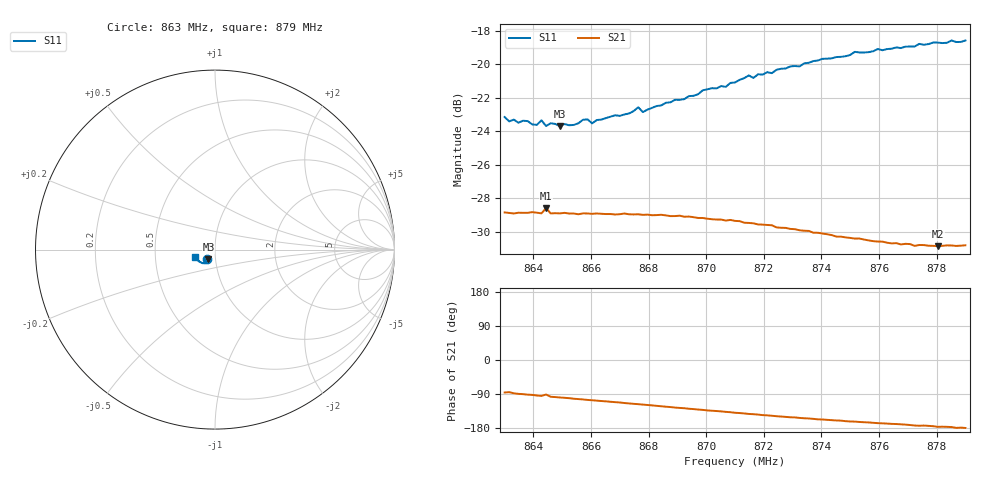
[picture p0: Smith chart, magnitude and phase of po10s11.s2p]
# HZ S RI R 50
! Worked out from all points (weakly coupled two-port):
!   101 points, 863 MHz to 879 MHz, reference 50 ohm
!   highest |S21| = -28.59 dB at 864.44 MHz (marker M1); lowest = -30.9 dB at 878.04 MHz (marker M2)
!   lowest |S11| = -23.7 dB at 864.92 MHz (marker M3), VSWR 1.14, Z = 46.2 - j5.05 ohm
!   |S11| at or under -10 dB: start of sweep to end of sweep
!   S12 and S22 are empty: the file has one direction only
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8.63e8  -0.0438 -0.0541  0.00263 -0.036  0 0  0 0
8.6316e8  -0.0413 -0.0535  0.00325 -0.0358  0 0  0 0
8.638e8  -0.0398 -0.0547  -0.000874 -0.036  0 0  0 0
8.6412e8  -0.0375 -0.0543  -0.00231 -0.036  0 0  0 0
8.6428e8  -0.0387 -0.056  -0.00302 -0.0358  0 0  0 0
8.6444e8  -0.0344 -0.0557  -0.000699 -0.0372  0 0  0 0
8.646e8  -0.0375 -0.0551  -0.00441 -0.0356  0 0  0 0
8.6492e8  -0.0362 -0.0544  -0.00556 -0.0354  0 0  0 0
8.6572e8  -0.035 -0.0587  -0.00873 -0.0348  0 0  0 0
8.6604e8  -0.0335 -0.0576  -0.01 -0.0343  0 0  0 0
8.6732e8  -0.0344 -0.0625  -0.0149 -0.0324  0 0  0 0
8.6764e8  -0.0359 -0.0653  -0.0159 -0.0319  0 0  0 0
8.678e8  -0.0347 -0.0631  -0.0165 -0.0314  0 0  0 0
8.6844e8  -0.0359 -0.0663  -0.0189 -0.0301  0 0  0 0
8.71e8  -0.0483 -0.074  -0.0258 -0.0223  0 0  0 0
8.7148e8  -0.0519 -0.0768  -0.0266 -0.0205  0 0  0 0
8.7164e8  -0.0511 -0.0754  -0.0268 -0.0202  0 0  0 0
8.7372e8  -0.0684 -0.0761  -0.0285 -0.0131  0 0  0 0
8.7516e8  -0.0836 -0.07  -0.0288 -0.00903  0 0  0 0
8.7644e8  -0.0931 -0.0612  -0.0286 -0.00578  0 0  0 0
8.7804e8  -0.1053 -0.049  -0.0286 -0.00182  0 0  0 0
8.79e8  -0.1111 -0.0394  -0.0288 -0.000322  0 0  0 0
